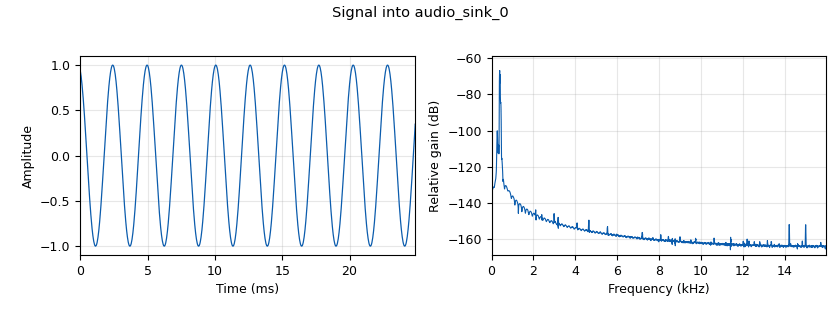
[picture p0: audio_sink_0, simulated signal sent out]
options:
  parameters:
    generate_options: qt_gui
    id: lab1
    output_language: python
    title: lab1
  states: {}

blocks:
- name: samp_rate
  id: variable
  parameters:
    value: '32000'
  states: {}
- name: audio_sink_0
  id: audio_sink
  parameters:
    samp_rate: samp_rate
  states: {}
- name: blocks_repeat_0
  id: blocks_repeat
  parameters:
    interp: '12000'
    type: float
  states: {}
- name: blocks_vco_f_0
  id: blocks_vco_f
  parameters:
    amplitude: '1'
    samp_rate: '32000'
    sensitivity: '6.283'
  states: {}
- name: blocks_vector_source_x_0
  id: blocks_vector_source_x
  parameters:
    repeat: 'True'
    type: float
    vector: (262, 262, 294, 262, 349, 330, 262, 262, 294, 262, 392, 349, 262, 262, 277, 440, 392, 349, 330, 466, 466, 440, 349, 392, 349)
  states: {}

connections:
- [blocks_repeat_0, '0', blocks_vco_f_0, '0']
- [blocks_vco_f_0, '0', audio_sink_0, '0']
- [blocks_vector_source_x_0, '0', blocks_repeat_0, '0']

metadata:
  file_format: 1
